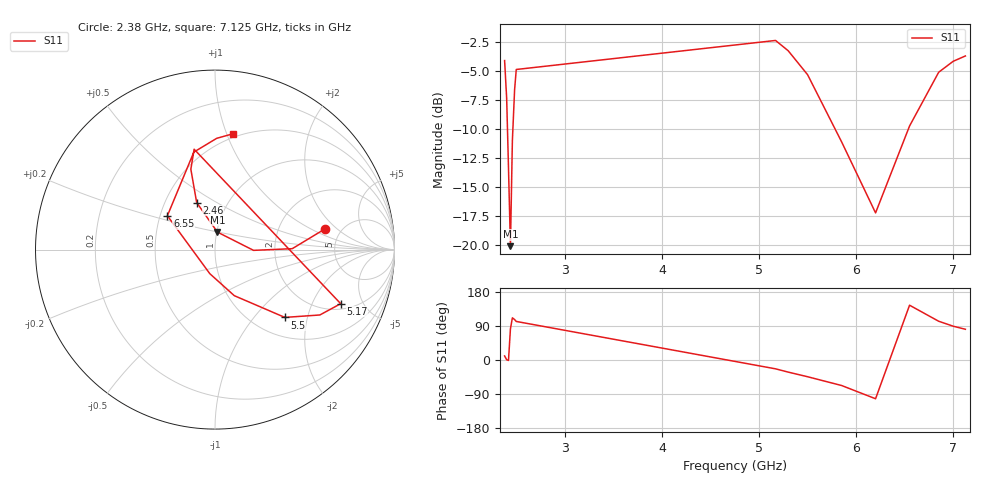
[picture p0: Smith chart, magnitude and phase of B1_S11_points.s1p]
! Generated by Hertzon (EMerge FEM)
# HZ S RI R 50
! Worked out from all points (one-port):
!   16 points, 2.38 GHz to 7.125 GHz, reference 50 ohm
!   lowest |S11| = -20.1 dB at 2.44 GHz (marker M1), VSWR 1.22, Z = 50.4 + j9.93 ohm
!   |S11| at or under -10 dB: 2.409 GHz to 2.465 GHz (55.89 MHz wide, 2.29 % of centre); 5.783 GHz to 6.538 GHz (755.5 MHz wide, 12.3 % of centre)
!   S11 on the Smith chart (normalised r, x): 2.38 GHz: 3.75, +1.42; 2.46 GHz: 0.72, +0.41; 5.17 GHz: 2.32, -3.34; 5.5 GHz: 1.37, -1.46; 6.55 GHz: 0.55, +0.23; 7.125 GHz: 0.47, +1.05
2.38e9  0.6133 0.1156
2.401e9  0.4304 0.00513
2.42e9  0.2147 -0.00425
2.44e9  0.0135 0.0975
2.46e9  -0.1021 0.2619
2.483e9  -0.1345 0.4478
2.5e9  -0.1163 0.5592
5.17e9  0.7003 -0.3014
5.3e9  0.5841 -0.3643
5.5e9  0.389 -0.3778
5.85e9  0.1074 -0.2566
6.2e9  -0.0291 -0.134
6.55e9  -0.2653 0.1886
6.85e9  -0.118 0.5431
7e9  0.00917 0.6198
7.125e9  0.1011 0.6456
